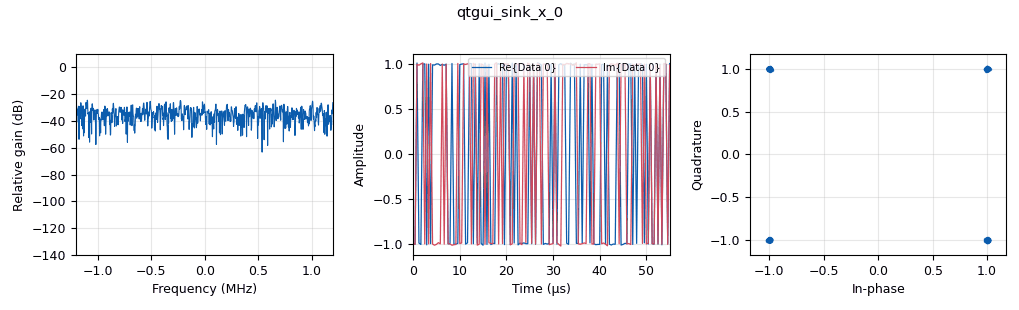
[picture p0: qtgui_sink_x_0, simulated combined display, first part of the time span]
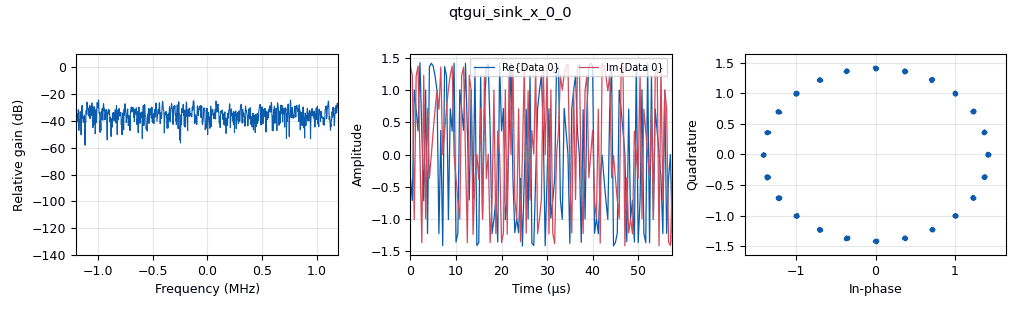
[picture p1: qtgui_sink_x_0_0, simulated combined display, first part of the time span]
options:
  parameters:
    category: Custom
    generate_options: qt_gui
    id: tutorial4_demod
    output_language: python
  states: {}

blocks:
- name: Flo
  id: variable_qtgui_range
  parameters:
    label: Frequency (Hz)
    orient: Qt.Horizontal
    start: '-samp_rate/2'
    step: '1'
    stop: samp_rate/2
    value: 100e3
  states: {}
- name: noise_amplitude
  id: variable_qtgui_range
  parameters:
    orient: Qt.Horizontal
    start: '0'
    step: '.001'
    stop: '1'
    value: '.01'
  states: {}
- name: samp_rate
  id: variable
  parameters:
    value: 2.4e6
  states: {}
- name: analog_noise_source_x_0
  id: analog_noise_source_x
  parameters:
    amp: noise_amplitude
    noise_type: analog.GR_GAUSSIAN
    seed: '0'
    type: complex
  states: {}
- name: analog_random_source_x_0
  id: analog_random_source_x
  parameters:
    max: '4'
    min: '0'
    num_samps: '10000'
    repeat: 'True'
    type: byte
  states: {}
- name: analog_sig_source_x_0_0
  id: analog_sig_source_x
  parameters:
    amp: '1'
    freq: Flo
    offset: '0'
    phase: '0'
    samp_rate: samp_rate
    type: complex
    waveform: analog.GR_COS_WAVE
  states: {}
- name: blocks_add_xx_0
  id: blocks_add_xx
  parameters:
    type: complex
  states: {}
- name: blocks_multiply_xx_0
  id: blocks_multiply_xx
  parameters:
    type: complex
  states: {}
- name: blocks_throttle_0
  id: blocks_throttle
  parameters:
    samples_per_second: samp_rate
    type: complex
  states: {}
- name: digital_chunks_to_symbols_xx_0
  id: digital_chunks_to_symbols_xx
  parameters:
    dimension: '1'
    in_type: byte
    out_type: complex
    symbol_table: '[1+1j, 1-1j, -1+1j, -1-1j]'
  states: {}
- name: qtgui_const_sink_x_0
  id: qtgui_const_sink_x
  parameters:
    size: '1024'
    type: complex
  states: {state: disabled}
- name: qtgui_number_sink_0
  id: qtgui_number_sink
  parameters:
    graph_type: qtgui.NUM_GRAPH_HORIZ
    max: '5'
    min: '0'
    type: byte
  states: {}
- name: qtgui_sink_x_0
  id: qtgui_sink_x
  parameters:
    bw: samp_rate
    fc: '0'
    fftsize: '1024'
    type: complex
    wintype: firdes.WIN_BLACKMAN_hARRIS
  states: {}
- name: qtgui_sink_x_0_0
  id: qtgui_sink_x
  parameters:
    bw: samp_rate
    fc: '0'
    fftsize: '1024'
    type: complex
    wintype: firdes.WIN_BLACKMAN_hARRIS
  states: {}
- name: qtgui_time_sink_x_0
  id: qtgui_time_sink_x
  parameters:
    size: '1024'
    srate: samp_rate
    type: complex
  states: {state: disabled}

connections:
- [analog_noise_source_x_0, '0', blocks_add_xx_0, '1']
- [analog_random_source_x_0, '0', digital_chunks_to_symbols_xx_0, '0']
- [analog_random_source_x_0, '0', qtgui_number_sink_0, '0']
- [analog_sig_source_x_0_0, '0', blocks_multiply_xx_0, '1']
- [blocks_add_xx_0, '0', blocks_throttle_0, '0']
- [blocks_multiply_xx_0, '0', qtgui_sink_x_0_0, '0']
- [blocks_throttle_0, '0', blocks_multiply_xx_0, '0']
- [blocks_throttle_0, '0', qtgui_const_sink_x_0, '0']
- [blocks_throttle_0, '0', qtgui_sink_x_0, '0']
- [digital_chunks_to_symbols_xx_0, '0', blocks_add_xx_0, '0']
- [digital_chunks_to_symbols_xx_0, '0', qtgui_time_sink_x_0, '0']

metadata:
  file_format: 1
